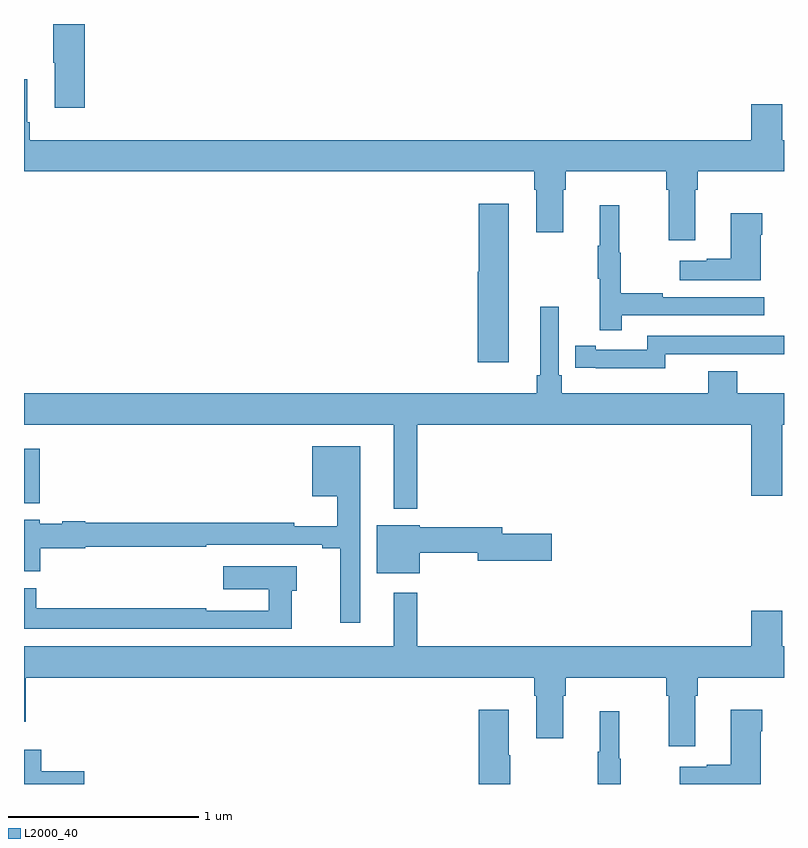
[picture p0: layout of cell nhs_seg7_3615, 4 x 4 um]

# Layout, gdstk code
import gdstk
lib = gdstk.Library(unit=1e-6, precision=1e-09)
def R(c, l, rs):  # rectangles x0, y0, x1, y1
    for r in rs: c.add(gdstk.rectangle(r[:2], r[2:], *l))
def P(c, l, *ps):  # polygons
    for p in ps: c.add(gdstk.Polygon(p, *l))
L2000_40 = (2000, 40)

nhs_seg7_3615 = lib.new_cell('nhs_seg7_3615')
R(nhs_seg7_3615, L2000_40, [(341,1057.478,341.084,1057.765)])
P(nhs_seg7_3615, L2000_40, [(341.321,1060),(341.155,1060),(341.155,1059.796),(341.162,1059.796),(341.162,1059.558),(341.321,1059.558)],
  [(344.533,1059.128),(344.546,1059.128),(344.546,1059.224),(345,1059.224),(345,1059.388),(344.992,1059.388),(344.992,1059.577),(344.828,1059.577),(344.828,1059.388),(341.03,1059.388),(341.03,1059.484),(341.017,1059.484),(341.017,1059.709),(341,1059.709),(341,1059.224),(343.685,1059.224),(343.685,1059.128),(343.697,1059.128),(343.697,1058.904),(343.837,1058.904),(343.837,1059.128),(343.85,1059.128),(343.85,1059.224),(344.381,1059.224),(344.381,1059.128),(344.393,1059.128),(344.393,1058.862),(344.533,1058.862)],
  [(343.552,1059.055),(343.394,1059.055),(343.394,1058.697),(343.388,1058.697),(343.388,1058.22),(343.552,1058.22)],
  [(344.147,1058.466),(344.896,1058.466),(344.896,1058.562),(344.363,1058.562),(344.363,1058.582),(344.14,1058.582),(344.14,1058.796),(344.132,1058.796),(344.132,1059.046),(344.03,1059.046),(344.03,1058.833),(344.019,1058.833),(344.019,1058.659),(344.03,1058.659),(344.03,1058.388),(344.147,1058.388)],
  [(344.878,1058.891),(344.886,1058.891),(344.886,1059.004),(344.72,1059.004),(344.72,1058.765),(344.594,1058.765),(344.594,1058.755),(344.451,1058.755),(344.451,1058.651),(344.878,1058.651)],
  [(343.069,1057.892),(344.828,1057.892),(344.828,1057.518),(344.992,1057.518),(344.992,1057.892),(345,1057.892),(345,1058.056),(344.753,1058.056),(344.753,1058.173),(344.6,1058.173),(344.6,1058.056),(343.829,1058.056),(343.829,1058.152),(343.815,1058.152),(343.815,1058.512),(343.718,1058.512),(343.718,1058.152),(343.699,1058.152),(343.699,1058.056),(341,1058.056),(341,1057.892),(342.947,1057.892),(342.947,1057.448),(343.069,1057.448)],
  [(344.376,1058.262),(344.836,1058.262),(344.836,1058.261),(345,1058.261),(345,1058.358),(344.28,1058.358),(344.28,1058.286),(344.008,1058.286),(344.008,1058.306),(343.9,1058.306),(343.9,1058.19),(344.008,1058.19),(344.008,1058.189),(344.376,1058.189)],
  [(342.769,1057.777),(342.518,1057.777),(342.518,1057.514),(342.648,1057.514),(342.648,1057.357),(342.422,1057.357),(342.422,1057.376),(341.322,1057.376),(341.322,1057.384),(341.202,1057.384),(341.202,1057.369),(341.082,1057.369),(341.082,1057.39),(341,1057.39),(341,1057.121),(341.086,1057.121),(341.086,1057.24),(341.322,1057.24),(341.322,1057.248),(341.96,1057.248),(341.96,1057.26),(342.569,1057.26),(342.569,1057.24),(342.665,1057.24),(342.665,1056.849),(342.769,1056.849)],
  [(343.084,1057.216),(343.388,1057.216),(343.388,1057.174),(343.777,1057.174),(343.777,1057.316),(343.516,1057.316),(343.516,1057.352),(343.084,1057.352),(343.084,1057.363),(342.857,1057.363),(342.857,1057.109),(343.084,1057.109)],
  [(342.41,1057.018),(342.436,1057.018),(342.436,1057.147),(342.048,1057.147),(342.048,1057.025),(342.289,1057.025),(342.289,1056.912),(341.96,1056.912),(341.96,1056.925),(341.065,1056.925),(341.065,1057.03),(341,1057.03),(341,1056.816),(342.41,1056.816)],
  [(344.533,1056.464),(344.546,1056.464),(344.546,1056.56),(345,1056.56),(345,1056.724),(344.992,1056.724),(344.992,1056.913),(344.828,1056.913),(344.828,1056.724),(343.069,1056.724),(343.069,1057.006),(342.947,1057.006),(342.947,1056.724),(341,1056.724),(341,1056.327),(341.009,1056.327),(341.009,1056.56),(343.685,1056.56),(343.685,1056.464),(343.697,1056.464),(343.697,1056.24),(343.837,1056.24),(343.837,1056.464),(343.85,1056.464),(343.85,1056.56),(344.381,1056.56),(344.381,1056.464),(344.393,1056.464),(344.393,1056.198),(344.533,1056.198)],
  [(343.56,1056.152),(343.552,1056.152),(343.552,1056.391),(343.394,1056.391),(343.394,1056),(343.56,1056)],
  [(344.878,1056.278),(344.886,1056.278),(344.886,1056.391),(344.72,1056.391),(344.72,1056.101),(344.594,1056.101),(344.594,1056.091),(344.451,1056.091),(344.451,1056),(344.878,1056)],
  [(344.14,1056.132),(344.132,1056.132),(344.132,1056.382),(344.03,1056.382),(344.03,1056.169),(344.019,1056.169),(344.019,1056),(344.14,1056)],
  [(341.317,1056.068),(341.092,1056.068),(341.092,1056.181),(341,1056.181),(341,1056),(341.317,1056)])

lib.write_gds('nhs_seg7_3615.gds')
